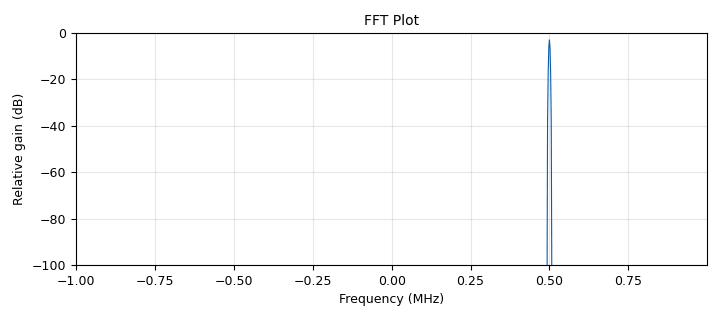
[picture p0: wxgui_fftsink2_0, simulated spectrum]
<?xml version='1.0' encoding='utf-8'?>
<flow_graph>
<block>
<key>options</key>
<param><key>id</key><value>top_block</value></param>
<param><key>generate_options</key><value>wx_gui</value></param>
<param><key>category</key><value>Custom</value></param>
</block>
<block>
<key>variable</key>
<param><key>id</key><value>samp_rate</value></param>
<param><key>value</key><value>2e6</value></param>
</block>
<block>
<key>wxgui_fftsink2</key>
<param><key>id</key><value>wxgui_fftsink2_0</value></param>
<param><key>type</key><value>complex</value></param>
<param><key>title</key><value>FFT Plot</value></param>
<param><key>samp_rate</key><value>samp_rate</value></param>
<param><key>baseband_freq</key><value>0</value></param>
<param><key>y_per_div</key><value>10</value></param>
<param><key>y_divs</key><value>10</value></param>
<param><key>ref_level</key><value>0</value></param>
<param><key>ref_scale</key><value>2.0</value></param>
<param><key>fft_size</key><value>1024</value></param>
<param><key>fft_rate</key><value>15</value></param>
<param><key>peak_hold</key><value>False</value></param>
<param><key>average</key><value>False</value></param>
<param><key>avg_alpha</key><value>0</value></param>
<param><key>win</key><value>None</value></param>
<param><key>freqvar</key><value>None</value></param>
</block>
<block>
<key>gr_throttle</key>
<param><key>id</key><value>gr_throttle_0</value></param>
<param><key>type</key><value>complex</value></param>
<param><key>samples_per_second</key><value>samp_rate</value></param>
<param><key>vlen</key><value>1</value></param>
</block>
<block>
<key>gr_add_xx</key>
<param><key>id</key><value>gr_add_xx_0</value></param>
<param><key>_enabled</key><value>False</value></param>
<param><key>type</key><value>complex</value></param>
<param><key>num_inputs</key><value>2</value></param>
<param><key>vlen</key><value>1</value></param>
</block>
<block>
<key>gr_sig_source_x</key>
<param><key>id</key><value>gr_sig_source_x_0_0</value></param>
<param><key>_enabled</key><value>False</value></param>
<param><key>type</key><value>complex</value></param>
<param><key>samp_rate</key><value>samp_rate</value></param>
<param><key>waveform</key><value>gr.GR_COS_WAVE</value></param>
<param><key>freq</key><value>0.5e6</value></param>
<param><key>amp</key><value>1</value></param>
<param><key>offset</key><value>0</value></param>
</block>
<block>
<key>gr_sig_source_x</key>
<param><key>id</key><value>gr_sig_source_x_0</value></param>
<param><key>type</key><value>complex</value></param>
<param><key>samp_rate</key><value>samp_rate</value></param>
<param><key>waveform</key><value>gr.GR_COS_WAVE</value></param>
<param><key>freq</key><value>0.5e6</value></param>
<param><key>amp</key><value>1</value></param>
<param><key>offset</key><value>0</value></param>
</block>
<block>
<key>freq_xlating_fir_filter_xxx</key>
<param><key>id</key><value>freq_xlating_fir_filter_xxx_0</value></param>
<param><key>type</key><value>ccc</value></param>
<param><key>decim</key><value>1</value></param>
<param><key>taps</key><value>1</value></param>
<param><key>center_freq</key><value>2e6</value></param>
<param><key>samp_rate</key><value>samp_rate</value></param>
</block>
<connection><source_block_id>freq_xlating_fir_filter_xxx_0</source_block_id><sink_block_id>gr_throttle_0</sink_block_id><source_key>0</source_key><sink_key>0</sink_key></connection>
<connection><source_block_id>gr_throttle_0</source_block_id><sink_block_id>wxgui_fftsink2_0</sink_block_id><source_key>0</source_key><sink_key>0</sink_key></connection>
<connection><source_block_id>gr_sig_source_x_0</source_block_id><sink_block_id>gr_add_xx_0</sink_block_id><source_key>0</source_key><sink_key>0</sink_key></connection>
<connection><source_block_id>gr_sig_source_x_0_0</source_block_id><sink_block_id>gr_add_xx_0</sink_block_id><source_key>0</source_key><sink_key>1</sink_key></connection>
<connection><source_block_id>gr_add_xx_0</source_block_id><sink_block_id>freq_xlating_fir_filter_xxx_0</sink_block_id><source_key>0</source_key><sink_key>0</sink_key></connection>
<connection><source_block_id>gr_sig_source_x_0</source_block_id><sink_block_id>freq_xlating_fir_filter_xxx_0</sink_block_id><source_key>0</source_key><sink_key>0</sink_key></connection>
</flow_graph>
